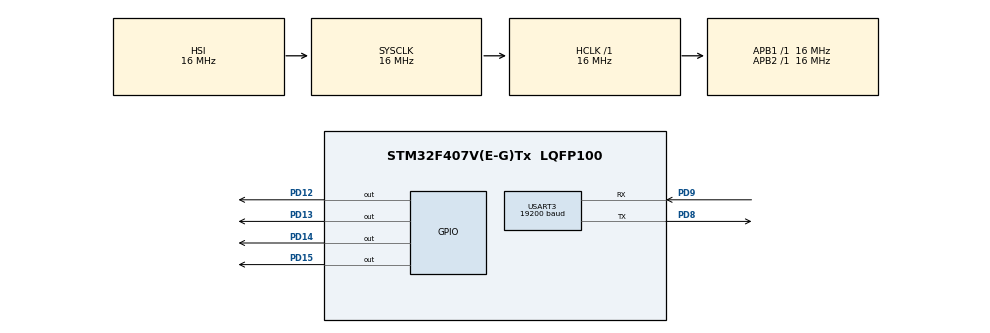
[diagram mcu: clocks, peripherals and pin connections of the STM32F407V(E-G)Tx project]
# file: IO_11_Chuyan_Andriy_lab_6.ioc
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Mcu.Family=STM32F4
Mcu.Name=STM32F407V(E-G)Tx
Mcu.Package=LQFP100
NVIC.PriorityGroup=NVIC_PRIORITYGROUP_4
PD12.Signal=GPIO_Output
PD13.Signal=GPIO_Output
PD14.Signal=GPIO_Output
PD15.Signal=GPIO_Output
PD8.Mode=Asynchronous
PD8.Signal=USART3_TX
PD9.Mode=Asynchronous
PD9.Signal=USART3_RX
ProjectManager.HeapSize=0x200
ProjectManager.StackSize=0x400
ProjectManager.TargetToolchain=STM32CubeIDE
RCC.AHBFreq_Value=16000000
RCC.APB1Freq_Value=16000000
RCC.APB2Freq_Value=16000000
RCC.CortexFreq_Value=16000000
RCC.HSE_VALUE=25000000
RCC.HSI_VALUE=16000000
RCC.LSE_VALUE=32768
RCC.SYSCLKFreq_VALUE=16000000
RCC.VCOOutputFreq_Value=192000000
USART3.BaudRate=19200
USART3.VirtualMode=VM_ASYNC
board=custom

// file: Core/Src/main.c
/* USER CODE BEGIN Header */
/**
  ******************************************************************************
  * @file           : main.c
  * @brief          : Main program body
  ******************************************************************************
  * @attention
  *
  * Copyright (c) 2024 STMicroelectronics.
  * All rights reserved.
  *
  * This software is licensed under terms that can be found in the LICENSE file
  * in the root directory of this software component.
  * If no LICENSE file comes with this software, it is provided AS-IS.
  *
  ******************************************************************************
  */
/* USER CODE END Header */
#include "main.h"

UART_HandleTypeDef huart3;

void SystemClock_Config(void);
static void MX_GPIO_Init(void);
static void MX_USART3_UART_Init(void);

int main(void)
{

  /* MCU Configuration--------------------------------------------------------*/

  /* Reset of all peripherals, Initializes the Flash interface and the Systick. */
  HAL_Init();

  /* Configure the system clock */
  SystemClock_Config();

  /* Initialize all configured peripherals */
  MX_GPIO_Init();
  MX_USART3_UART_Init();

  /* Infinite loop */
  /* USER CODE BEGIN WHILE */
  while (1)
  {
    uint8_t rcvBuf[1];
	  HAL_StatusTypeDef result;

	  result = HAL_UART_Receive(&huart3, rcvBuf, 1, 10);

	  if(result == HAL_OK)
	  {
		  switch(rcvBuf[0])
	      {
		  	  case '1':
		  		  HAL_GPIO_TogglePin(GPIOD, GPIO_PIN_15);
		  		  HAL_UART_Transmit(&huart3, (uint8_t *)" - Switch Blue\r\n", 16, 100);
		  		  break;
		  	  case '2':
		  		  HAL_GPIO_TogglePin(GPIOD, GPIO_PIN_14);
				  HAL_UART_Transmit(&huart3, (uint8_t *)" - Switch Red\r\n", 15, 100);
				  break;
			  case '3':
				  HAL_GPIO_TogglePin(GPIOD, GPIO_PIN_13);
				  HAL_UART_Transmit(&huart3, (uint8_t *)" - Switch Orange\r\n", 18, 100);
				  break;
			  case '4':
				  HAL_GPIO_TogglePin(GPIOD, GPIO_PIN_12);
				  HAL_UART_Transmit(&huart3, (uint8_t *)" - Switch Green\r\n", 17, 100);
				  break;
			  case '5':
				  HAL_GPIO_WritePin(GPIOD, GPIO_PIN_15, GPIO_PIN_SET);
				  HAL_GPIO_WritePin(GPIOD, GPIO_PIN_14, GPIO_PIN_SET);
				  HAL_GPIO_WritePin(GPIOD, GPIO_PIN_13, GPIO_PIN_SET);
				  HAL_GPIO_WritePin(GPIOD, GPIO_PIN_12, GPIO_PIN_SET);
				  HAL_UART_Transmit(&huart3, (uint8_t *)" - All LEDs ON\r\n", 16, 100);
				  break;
			  case '6':
				  HAL_GPIO_WritePin(GPIOD, GPIO_PIN_15, GPIO_PIN_RESET);
				  HAL_GPIO_WritePin(GPIOD, GPIO_PIN_14, GPIO_PIN_RESET);
				  HAL_GPIO_WritePin(GPIOD, GPIO_PIN_13, GPIO_PIN_RESET);
				  HAL_GPIO_WritePin(GPIOD, GPIO_PIN_12, GPIO_PIN_RESET);
				  HAL_UART_Transmit(&huart3, (uint8_t *)" - All LEDs OFF\r\n", 17, 100);
				  break;
			  default:
				  HAL_UART_Transmit(&huart3, (uint8_t *)" - UnexpCmd\r\n", 173, 100);
				  break;
	      }
	  }
    /* USER CODE END WHILE */

  }
}

void SystemClock_Config(void)
{
  RCC_OscInitTypeDef RCC_OscInitStruct = {0};
  RCC_ClkInitTypeDef RCC_ClkInitStruct = {0};

  /** Configure the main internal regulator output voltage
  */
  __HAL_RCC_PWR_CLK_ENABLE();
  __HAL_PWR_VOLTAGESCALING_CONFIG(PWR_REGULATOR_VOLTAGE_SCALE1);

  /** Initializes the RCC Oscillators according to the specified parameters
  * in the RCC_OscInitTypeDef structure.
  */
  RCC_OscInitStruct.OscillatorType = RCC_OSCILLATORTYPE_HSI;
  RCC_OscInitStruct.HSIState = RCC_HSI_ON;
  RCC_OscInitStruct.HSICalibrationValue = RCC_HSICALIBRATION_DEFAULT;
  RCC_OscInitStruct.PLL.PLLState = RCC_PLL_NONE;
  if (HAL_RCC_OscConfig(&RCC_OscInitStruct) != HAL_OK)
  {
    Error_Handler();
  }

  /** Initializes the CPU, AHB and APB buses clocks
  */
  RCC_ClkInitStruct.ClockType = RCC_CLOCKTYPE_HCLK|RCC_CLOCKTYPE_SYSCLK
                              |RCC_CLOCKTYPE_PCLK1|RCC_CLOCKTYPE_PCLK2;
  RCC_ClkInitStruct.SYSCLKSource = RCC_SYSCLKSOURCE_HSI;
  RCC_ClkInitStruct.AHBCLKDivider = RCC_SYSCLK_DIV1;
  RCC_ClkInitStruct.APB1CLKDivider = RCC_HCLK_DIV1;
  RCC_ClkInitStruct.APB2CLKDivider = RCC_HCLK_DIV1;

  if (HAL_RCC_ClockConfig(&RCC_ClkInitStruct, FLASH_LATENCY_0) != HAL_OK)
  {
    Error_Handler();
  }
}

static void MX_USART3_UART_Init(void)
{

  huart3.Instance = USART3;
  huart3.Init.BaudRate = 19200;
  huart3.Init.WordLength = UART_WORDLENGTH_8B;
  huart3.Init.StopBits = UART_STOPBITS_1;
  huart3.Init.Parity = UART_PARITY_NONE;
  huart3.Init.Mode = UART_MODE_TX_RX;
  huart3.Init.HwFlowCtl = UART_HWCONTROL_NONE;
  huart3.Init.OverSampling = UART_OVERSAMPLING_16;
  if (HAL_UART_Init(&huart3) != HAL_OK)
  {
    Error_Handler();
  }

}

static void MX_GPIO_Init(void)
{
  GPIO_InitTypeDef GPIO_InitStruct = {0};

  /* GPIO Ports Clock Enable */
  __HAL_RCC_GPIOD_CLK_ENABLE();

  /*Configure GPIO pin Output Level */
  HAL_GPIO_WritePin(GPIOD, GPIO_PIN_12|GPIO_PIN_13|GPIO_PIN_14|GPIO_PIN_15, GPIO_PIN_RESET);

  /*Configure GPIO pins : PD12 PD13 PD14 PD15 */
  GPIO_InitStruct.Pin = GPIO_PIN_12|GPIO_PIN_13|GPIO_PIN_14|GPIO_PIN_15;
  GPIO_InitStruct.Mode = GPIO_MODE_OUTPUT_PP;
  GPIO_InitStruct.Pull = GPIO_NOPULL;
  GPIO_InitStruct.Speed = GPIO_SPEED_FREQ_LOW;
  HAL_GPIO_Init(GPIOD, &GPIO_InitStruct);

}

void Error_Handler(void)
{
  __disable_irq();
  while (1)
  {
  }
}
